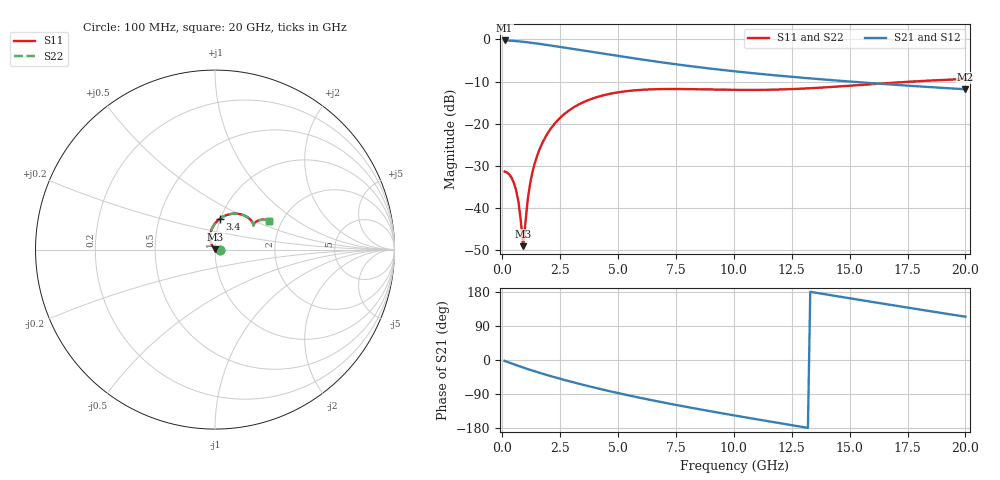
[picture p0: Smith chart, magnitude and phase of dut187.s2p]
! Touchstone file exported from HFSS 2024.1.0
!  File:  C:/UserFiles/LocalFiles/RDL_TSV_Batchsim/temp_RDL_TSV_187_1779440494.aedt
!  Generated:  05:19:39 PM May 22, 2026
!  Design:  RDL_TSV
!  Project:  temp_RDL_TSV_187_1779440494
!  Setup:  Setup1
!  Solution:  Sweep
! Variables:
!  dtsv = 14.64um
!  hbump = 3um
!  htsv = 80.87um
!  ldown = 433.56um
!  lrdl = 504.09um
!  p = 40
!  p1 = 51.84um
!  rhole = 10um
!  subl = 3317.04um
!  t = 450um
!  tdown = 2.05um
!  trdl = 3.59um
!  viad = 10um
!  wdown = 11.33um
!  wrdl = 24.5um
!  xbump = 18um
# GHz S MA R 50.000000
! Terminal data exported
! Port[1] = TM1_1_T1
! Port[2] = TM1_4_T1
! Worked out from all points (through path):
!   200 points, 100 MHz to 20 GHz, reference 50 ohm
!   highest |S21| = -0.25 dB at 100 MHz (marker M1); lowest = -11.8 dB at 20 GHz (marker M2)
!   group delay of S21, straight-line fit = 32 ps
!   lowest |S11| = -49.0 dB at 900 MHz (marker M3), VSWR 1.01, Z = 50.2 + j0.264 ohm
!   |S11| at or under -10 dB: start of sweep to 17.68 GHz
!   |S22| runs from -49.1 to -9.4 dB; largest |S21 - S12| = 9.1e-15
!   S11 on the Smith chart (normalised r, x): 100 MHz: 1.06, -0.00; 3.4 GHz: 0.99, +0.35; 20 GHz: 1.71, +0.62
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0.1  0.02708 -1.5  0.972 -2.3  0.972 -2.3  0.02708 -1.5
! Gamma 0 0 0 0
! Port Impedance 50 0 50 0
0.4  0.0229 -8.4  0.9637 -9.1  0.9637 -9.1  0.0229 -8.4
0.6  0.01613 -11.6  0.9548 -13.5  0.9548 -13.5  0.01612 -11.6
0.7  0.01177 -10.3  0.9494 -15.6  0.9494 -15.6  0.01176 -10.3
0.8  0.007044 -1.3  0.9436 -17.7  0.9436 -17.7  0.007032 -1.3
0.9  0.003531 48.1  0.9373 -19.8  0.9373 -19.8  0.003527 48.4
1.1  0.01271 122.8  0.9236 -23.9  0.9236 -23.9  0.01273 122.8
1.2  0.01941 125.1  0.9164 -25.9  0.9164 -25.9  0.01944 125.2
1.4  0.03382 123.3  0.9012 -29.8  0.9012 -29.8  0.03386 123.3
1.6  0.04901 119.2  0.8856 -33.6  0.8856 -33.6  0.04906 119.2
1.9  0.07235 112.2  0.8618 -39.1  0.8618 -39.1  0.07242 112.2
2.3  0.103 102.8  0.8301 -46.2  0.8301 -46.2  0.1031 102.8
2.8  0.1384 92.1  0.7912 -54.5  0.7912 -54.5  0.1386 92.1
3.4  0.1748 80.8  0.7462 -64.1  0.7462 -64.1  0.1749 80.8
3.5  0.1801 79.0  0.7389 -65.6  0.7389 -65.6  0.1803 79.1
5.1  0.2381 56.8  0.6313 -88.6  0.6313 -88.6  0.2384 56.8
6.8  0.2575 42.2  0.5386 -110.3  0.5386 -110.3  0.2579 42.2
8.3  0.2568 35.2  0.4751 -127.6  0.4751 -127.6  0.2573 35.2
10.1  0.2519 32.2  0.4168 -147.1  0.4168 -147.1  0.2526 32.1
13.4  0.2646 33.7  0.3431 178.9  0.3431 178.9  0.2652 33.6
16.7  0.304 33.1  0.293 146.1  0.293 146.1  0.3043 32.9
20  0.3389 28.1  0.2564 114.2  0.2564 114.2  0.339 27.9
